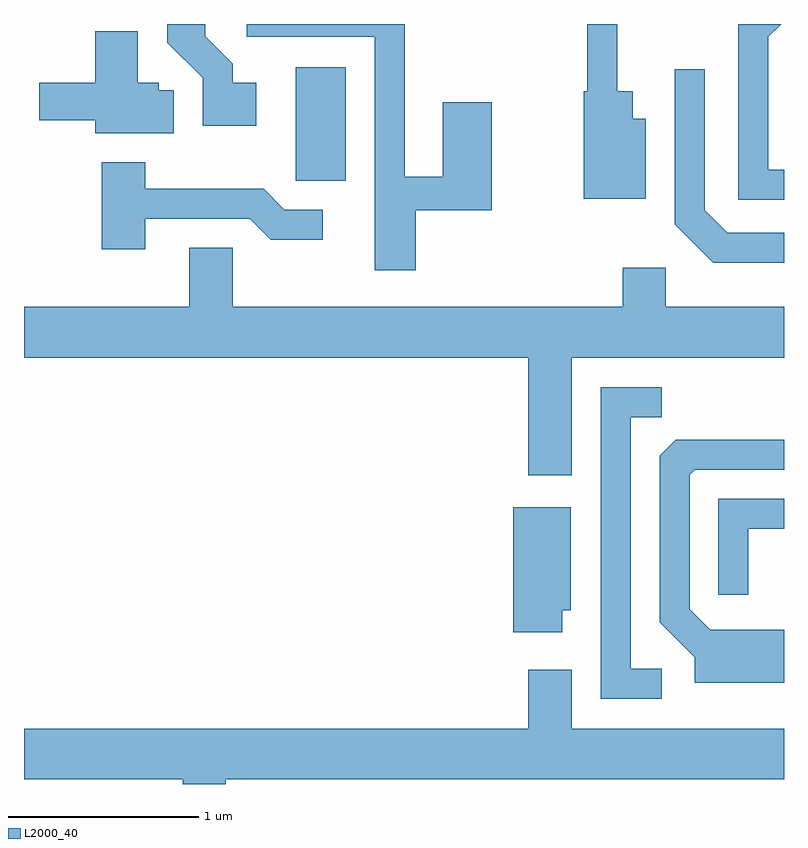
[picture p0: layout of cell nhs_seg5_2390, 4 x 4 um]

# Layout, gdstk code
import gdstk
lib = gdstk.Library(unit=1e-6, precision=1e-09)
def R(c, l, rs):  # rectangles x0, y0, x1, y1
    for r in rs: c.add(gdstk.rectangle(r[:2], r[2:], *l))
def P(c, l, *ps):  # polygons
    for p in ps: c.add(gdstk.Polygon(p, *l))
L2000_40 = (2000, 40)

nhs_seg5_2390 = lib.new_cell('nhs_seg5_2390')
R(nhs_seg5_2390, L2000_40, [(257.041,1493.246,257.304,1493.844)])
P(nhs_seg5_2390, L2000_40, [(259.611,1493.304),(259.529,1493.304),(259.529,1494.004),(259.597,1494.072),(259.371,1494.072),(259.371,1493.146),(259.611,1493.146)],
  [(256.834,1493.764),(256.709,1493.764),(256.709,1493.862),(256.564,1494.007),(256.564,1494.072),(256.366,1494.072),(256.366,1493.974),(256.551,1493.789),(256.551,1493.536),(256.834,1493.536)],
  [(258.884,1493.574),(258.814,1493.574),(258.814,1493.719),(258.734,1493.719),(258.734,1494.072),(258.576,1494.072),(258.576,1493.719),(258.556,1493.719),(258.556,1493.151),(258.884,1493.151)],
  [(257.674,1493.091),(258.074,1493.091),(258.074,1493.659),(257.816,1493.659),(257.816,1493.269),(257.614,1493.269),(257.614,1494.072),(256.783,1494.072),(256.783,1494.006),(257.456,1494.006),(257.456,1492.776),(257.674,1492.776)],
  [(256.399,1493.724),(256.319,1493.724),(256.319,1493.764),(256.209,1493.764),(256.209,1494.034),(255.986,1494.034),(255.986,1493.764),(255.691,1493.764),(255.691,1493.566),(255.986,1493.566),(255.986,1493.496),(256.399,1493.496)],
  [(259.611,1492.974),(259.312,1492.974),(259.194,1493.092),(259.194,1493.833),(259.036,1493.833),(259.036,1493.019),(259.239,1492.816),(259.611,1492.816)],
  [(256.249,1493.046),(256.799,1493.046),(256.909,1492.936),(257.183,1492.936),(257.183,1493.094),(256.981,1493.094),(256.872,1493.204),(256.249,1493.204),(256.249,1493.344),(256.021,1493.344),(256.021,1492.886),(256.249,1492.886)],
  [(258.494,1492.316),(259.611,1492.316),(259.611,1492.584),(258.989,1492.584),(258.989,1492.789),(258.761,1492.789),(258.761,1492.584),(256.709,1492.584),(256.709,1492.894),(256.481,1492.894),(256.481,1492.584),(255.611,1492.584),(255.611,1492.316),(258.266,1492.316),(258.266,1491.696),(258.494,1491.696)],
  [(258.968,1490.679),(258.804,1490.679),(258.804,1492.001),(258.968,1492.001),(258.968,1492.159),(258.646,1492.159),(258.646,1490.521),(258.968,1490.521)],
  [(259.611,1490.884),(259.222,1490.884),(259.114,1490.992),(259.114,1491.699),(259.142,1491.726),(259.611,1491.726),(259.611,1491.884),(259.041,1491.884),(258.956,1491.799),(258.956,1490.924),(259.141,1490.739),(259.141,1490.606),(259.611,1490.606)],
  [(259.424,1491.416),(259.611,1491.416),(259.611,1491.574),(259.266,1491.574),(259.266,1491.068),(259.424,1491.068)],
  [(258.444,1490.986),(258.489,1490.986),(258.489,1491.529),(258.186,1491.529),(258.186,1490.871),(258.444,1490.871)],
  [(256.674,1490.096),(259.611,1490.096),(259.611,1490.364),(258.494,1490.364),(258.494,1490.674),(258.266,1490.674),(258.266,1490.364),(255.611,1490.364),(255.611,1490.096),(256.446,1490.096),(256.446,1490.072),(256.674,1490.072)])

lib.write_gds('nhs_seg5_2390.gds')
